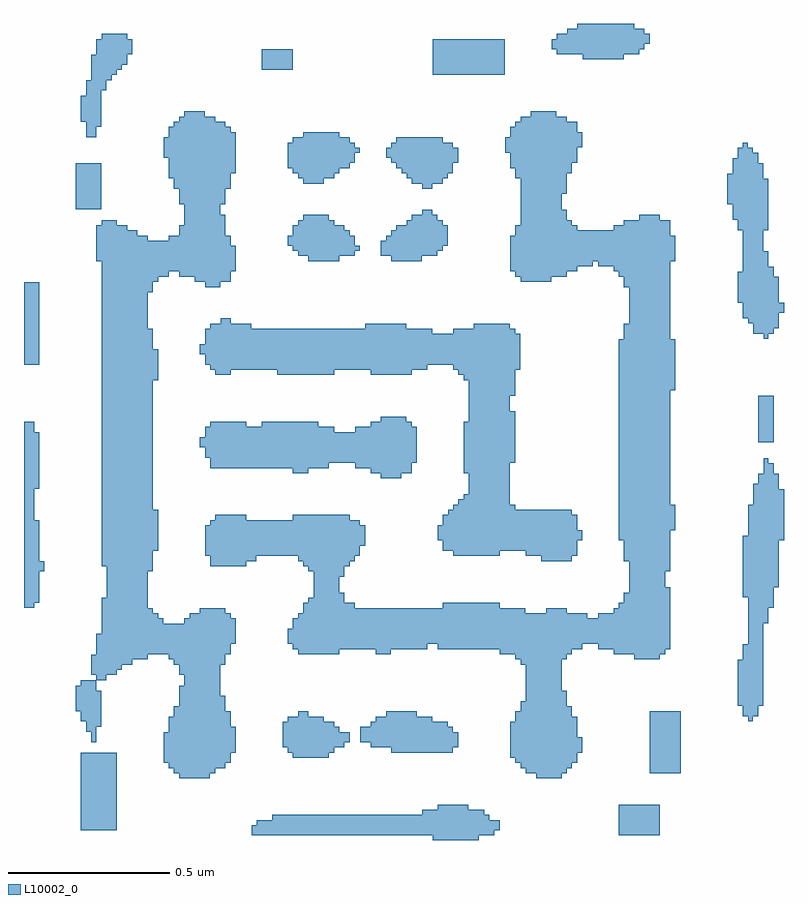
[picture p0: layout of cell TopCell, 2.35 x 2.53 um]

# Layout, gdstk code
import gdstk
lib = gdstk.Library(unit=1e-6, precision=1e-09)
def R(c, l, rs):  # rectangles x0, y0, x1, y1
    for r in rs: c.add(gdstk.rectangle(r[:2], r[2:], *l))
L10002_0 = (10002, 0)

topcell = lib.new_cell('TopCell')
R(topcell, L10002_0, [(2.288,1.024,2.431,1.04), (1.728,1.04,2.479,1.071), (2.864,1.04,2.991,1.135), (1.2,1.056,1.311,1.295), (2.479,1.056,2.495,1.071), (1.744,1.071,2.495,1.087), (1.792,1.087,2.463,1.103), (2.256,1.103,2.447,1.119), (2.304,1.119,2.399,1.135), (1.504,1.216,1.599,1.232), (2.608,1.216,2.687,1.232), (1.488,1.232,1.615,1.248), (2.576,1.232,2.703,1.248), (2.96,1.232,3.055,1.423), (1.472,1.248,1.647,1.264), (2.56,1.248,2.719,1.264), (1.456,1.264,1.663,1.359), (2.544,1.264,2.735,1.28), (1.856,1.28,1.967,1.296), (2.528,1.28,2.735,1.391), (1.663,1.296,1.679,1.359), (1.84,1.296,1.983,1.312), (2.16,1.296,2.351,1.312), (2.735,1.296,2.751,1.343), (1.824,1.312,2.015,1.359), (2.096,1.312,2.367,1.328), (1.232,1.328,1.247,1.36), (2.015,1.328,2.031,1.359), (2.064,1.328,2.367,1.359), (1.472,1.359,1.679,1.375), (1.824,1.359,1.999,1.375), (2.064,1.359,2.351,1.375), (1.216,1.36,1.247,1.392), (1.472,1.375,1.663,1.407), (1.824,1.375,1.983,1.391), (2.096,1.375,2.335,1.391), (1.247,1.376,1.263,1.392), (1.84,1.391,1.951,1.407), (2.112,1.391,2.287,1.407), (2.544,1.391,2.735,1.407), (1.2,1.392,1.263,1.424), (3.264,1.392,3.279,1.408), (1.488,1.407,1.663,1.423), (1.872,1.407,1.903,1.423), (2.144,1.407,2.239,1.423), (2.544,1.407,2.719,1.423), (3.248,1.408,3.295,1.44), (1.488,1.423,1.647,1.439), (2.56,1.423,2.719,1.439), (1.184,1.424,1.263,1.487), (1.504,1.439,1.647,1.471), (2.56,1.439,2.703,1.455), (3.232,1.44,3.311,1.583), (2.576,1.455,2.703,1.487), (1.504,1.471,1.631,1.503), (1.184,1.487,1.247,1.503), (2.576,1.487,2.687,1.568), (1.2,1.503,1.247,1.519), (1.52,1.503,1.631,1.536), (1.248,1.52,1.279,1.536), (1.232,1.536,1.311,1.599), (1.504,1.536,1.631,1.568), (1.311,1.552,1.327,1.599), (1.327,1.568,1.359,1.599), (1.488,1.568,1.647,1.584), (2.56,1.568,2.687,1.584), (3.248,1.583,3.311,1.631), (1.359,1.584,1.407,1.599), (1.472,1.584,1.647,1.6), (2.544,1.584,2.703,1.6), (2.912,1.584,2.991,1.6), (1.248,1.599,1.407,1.663), (1.407,1.6,1.663,1.663), (1.872,1.6,1.999,1.616), (2.112,1.6,2.159,1.616), (2.496,1.6,2.719,1.616), (2.848,1.6,3.007,1.616), (1.856,1.616,2.271,1.632), (2.304,1.616,2.751,1.632), (2.8,1.616,3.023,1.632), (3.264,1.631,3.311,1.776), (1.663,1.632,1.679,1.663), (1.84,1.632,3.023,1.679), (1.264,1.663,1.679,1.695), (1.856,1.679,3.023,1.711), (1.264,1.695,1.455,1.711), (1.52,1.695,1.679,1.711), (3.311,1.696,3.327,1.776), (1.264,1.711,1.439,1.727), (1.536,1.711,1.663,1.727), (1.872,1.711,2.767,1.727), (2.8,1.711,3.023,1.727), (1.264,1.727,1.423,1.743), (1.568,1.727,1.647,1.743), (1.888,1.727,2.575,1.743), (2.64,1.727,2.703,1.743), (2.848,1.727,3.023,1.743), (1.264,1.743,1.407,1.775), (1.888,1.743,2.047,1.759), (2.32,1.743,2.495,1.759), (2.864,1.743,3.023,1.759), (1.024,1.744,1.055,2.319), (3.327,1.744,3.343,1.776), (1.904,1.759,2.015,1.775), (2.88,1.759,3.023,1.791), (1.055,1.76,1.071,2.015), (1.28,1.775,1.407,1.872), (1.92,1.775,2.015,1.791), (3.248,1.776,3.343,1.967), (1.92,1.791,1.999,1.856), (2.896,1.791,3.023,1.807), (2.896,1.807,3.007,1.888), (3.343,1.808,3.359,1.967), (1.999,1.84,2.015,1.856), (1.071,1.856,1.087,1.887), (1.407,1.856,1.423,1.872), (1.904,1.856,2.015,1.872), (3.007,1.856,3.023,1.888), (1.264,1.872,1.423,2.607), (1.6,1.872,1.711,1.904), (1.888,1.872,2.031,1.888), (1.711,1.888,1.743,1.904), (1.872,1.888,2.047,1.904), (2.624,1.888,2.719,1.904), (2.88,1.888,3.023,1.952), (1.584,1.904,2.063,1.999), (2.352,1.904,2.495,1.92), (2.576,1.904,2.735,1.92), (1.423,1.92,1.439,2.047), (2.32,1.92,2.735,1.952), (2.063,1.936,2.079,1.999), (2.304,1.952,2.751,1.983), (2.864,1.952,3.023,2.575), (3.359,1.952,3.375,1.967), (3.264,1.967,3.375,2.063), (2.304,1.983,2.735,1.999), (3.023,1.984,3.039,2.063), (1.6,1.999,2.063,2.015), (2.32,1.999,2.735,2.031), (1.616,2.015,1.711,2.031), (1.856,2.015,2.031,2.031), (2.336,2.031,2.719,2.047), (2.352,2.047,2.543,2.063), (2.368,2.063,2.527,2.079), (3.28,2.063,3.375,2.111), (2.384,2.079,2.527,2.095), (2.4,2.095,2.527,2.16), (3.28,2.111,3.359,2.127), (1.055,2.112,1.071,2.287), (3.296,2.127,3.359,2.159), (2.128,2.144,2.191,2.16), (3.312,2.159,3.343,2.191), (1.856,2.16,1.903,2.176), (2.096,2.16,2.223,2.176), (2.384,2.16,2.527,2.319), (1.6,2.176,1.967,2.208), (2.048,2.176,2.223,2.192), (3.312,2.191,3.327,2.207), (1.967,2.192,2.239,2.208), (2.527,2.192,2.543,2.319), (1.584,2.208,2.239,2.24), (1.568,2.24,2.239,2.271), (3.296,2.256,3.343,2.399), (1.584,2.271,2.239,2.287), (1.584,2.287,1.983,2.303), (2.048,2.287,2.239,2.303), (1.6,2.303,1.711,2.319), (1.76,2.303,1.935,2.319), (2.096,2.303,2.223,2.319), (2.128,2.319,2.207,2.335), (2.4,2.319,2.543,2.351), (2.4,2.351,2.527,2.448), (2.527,2.4,2.543,2.448), (3.023,2.416,3.039,2.575), (1.423,2.448,1.439,2.543), (2.384,2.448,2.543,2.464), (1.616,2.464,1.663,2.48), (1.808,2.464,1.983,2.48), (2.096,2.464,2.223,2.48), (2.368,2.464,2.543,2.48), (1.6,2.48,2.271,2.496), (2.352,2.48,2.559,2.496), (1.024,2.496,1.071,2.751), (1.584,2.496,2.559,2.528), (1.568,2.528,2.559,2.559), (1.584,2.559,2.559,2.591), (2.88,2.575,3.023,2.623), (3.312,2.576,3.327,2.592), (1.584,2.591,2.287,2.607), (2.352,2.591,2.543,2.607), (3.28,2.592,3.343,2.624), (1.264,2.607,1.407,2.816), (1.6,2.607,1.727,2.623), (2.08,2.607,2.207,2.623), (2.416,2.607,2.527,2.623), (3.343,2.608,3.359,2.624), (1.632,2.623,1.663,2.639), (2.896,2.623,3.023,2.736), (3.264,2.624,3.359,2.64), (3.248,2.64,3.359,2.688), (3.359,2.656,3.375,2.687), (3.232,2.688,3.359,2.767), (1.407,2.72,1.423,2.816), (1.584,2.736,1.631,2.752), (2.88,2.736,3.023,2.768), (1.423,2.752,1.439,2.816), (1.552,2.752,1.663,2.768), (2.56,2.752,2.655,2.768), (3.232,2.767,3.343,2.783), (1.439,2.768,1.471,2.816), (1.504,2.768,1.663,2.784), (2.544,2.768,2.703,2.784), (2.864,2.768,3.023,2.784), (3.248,2.783,3.343,2.799), (1.471,2.784,1.679,2.816), (2.528,2.784,2.735,2.895), (2.848,2.784,3.023,2.8), (3.248,2.799,3.327,2.847), (2.735,2.8,2.783,2.895), (2.8,2.8,3.023,2.816), (1.248,2.816,1.679,2.863), (1.904,2.816,1.999,2.832), (2.16,2.816,2.255,2.832), (2.783,2.816,3.039,2.895), (1.872,2.832,2.047,2.848), (2.128,2.832,2.303,2.879), (3.248,2.847,3.311,2.912), (1.856,2.848,2.063,2.863), (2.303,2.848,2.319,2.879), (1.248,2.863,1.663,2.879), (1.856,2.863,2.047,2.864), (1.84,2.864,2.047,2.895), (2.319,2.864,2.335,2.879), (1.248,2.879,1.407,2.895), (1.472,2.879,1.663,2.895), (2.144,2.879,2.335,2.895), (1.248,2.895,1.375,2.911), (1.504,2.895,1.647,2.927), (1.856,2.895,2.031,2.911), (2.16,2.895,2.335,2.911), (2.544,2.895,3.023,2.911), (1.248,2.911,1.343,2.927), (1.856,2.911,2.015,2.927), (2.176,2.911,2.335,2.927), (2.544,2.911,2.735,2.927), (2.848,2.911,3.023,2.927), (3.232,2.912,3.327,2.944), (1.264,2.927,1.311,2.943), (1.52,2.927,1.647,2.959), (1.872,2.927,1.983,2.943), (2.208,2.927,2.319,2.943), (2.56,2.927,2.719,2.943), (2.88,2.927,3.023,2.943), (1.888,2.943,1.967,2.959), (2.224,2.943,2.303,2.959), (2.56,2.943,2.703,2.975), (2.928,2.943,2.991,2.959), (3.216,2.944,3.327,2.992), (1.52,2.959,1.631,2.992), (2.256,2.959,2.287,2.975), (2.56,2.975,2.687,3.072), (1.184,2.976,1.263,3.119), (1.504,2.992,1.647,3.04), (3.2,2.992,3.327,3.071), (2.687,3.024,2.703,3.072), (1.488,3.04,1.663,3.072), (2.256,3.04,2.287,3.056), (1.888,3.056,1.951,3.072), (2.224,3.056,2.319,3.072), (3.2,3.071,3.311,3.087), (1.472,3.072,1.663,3.136), (1.872,3.072,1.983,3.088), (2.208,3.072,2.335,3.088), (2.544,3.072,2.703,3.104), (3.216,3.087,3.311,3.119), (1.663,3.088,1.679,3.136), (1.856,3.088,1.999,3.104), (2.192,3.088,2.351,3.104), (2.703,3.088,2.719,3.104), (1.84,3.104,2.031,3.183), (2.176,3.104,2.351,3.12), (2.528,3.104,2.719,3.152), (3.216,3.119,3.295,3.135), (2.031,3.12,2.047,3.183), (2.16,3.12,2.367,3.136), (2.719,3.12,2.735,3.152), (3.232,3.135,3.295,3.151), (1.456,3.136,1.679,3.199), (2.144,3.136,2.367,3.167), (3.232,3.151,3.279,3.167), (2.047,3.152,2.063,3.167), (2.512,3.152,2.735,3.199), (2.16,3.167,2.351,3.183), (3.248,3.167,3.263,3.183), (2.735,3.168,2.751,3.199), (1.856,3.183,2.031,3.199), (2.176,3.183,2.319,3.199), (1.472,3.199,1.679,3.215), (1.888,3.199,1.999,3.215), (2.528,3.199,2.751,3.215), (1.216,3.2,1.247,3.248), (1.472,3.215,1.663,3.231), (2.528,3.215,2.735,3.231), (1.488,3.231,1.647,3.247), (2.544,3.231,2.735,3.247), (1.247,3.232,1.263,3.248), (1.504,3.247,1.615,3.263), (2.56,3.247,2.703,3.263), (1.2,3.248,1.263,3.327), (1.52,3.263,1.583,3.279), (2.592,3.263,2.671,3.279), (1.216,3.327,1.263,3.375), (1.263,3.344,1.279,3.375), (1.232,3.375,1.279,3.455), (1.279,3.376,1.295,3.455), (1.295,3.392,1.311,3.455), (2.288,3.392,2.511,3.503), (1.311,3.408,1.327,3.455), (1.76,3.408,1.855,3.471), (1.327,3.424,1.343,3.455), (2.752,3.44,2.879,3.456), (1.248,3.455,1.343,3.503), (1.343,3.456,1.359,3.503), (2.672,3.456,2.927,3.472), (2.656,3.472,2.943,3.503), (2.943,3.488,2.959,3.503), (1.264,3.503,1.343,3.519), (2.672,3.503,2.959,3.519), (2.704,3.519,2.943,3.535), (2.736,3.535,2.911,3.551)])

lib.write_gds('TopCell.gds')
